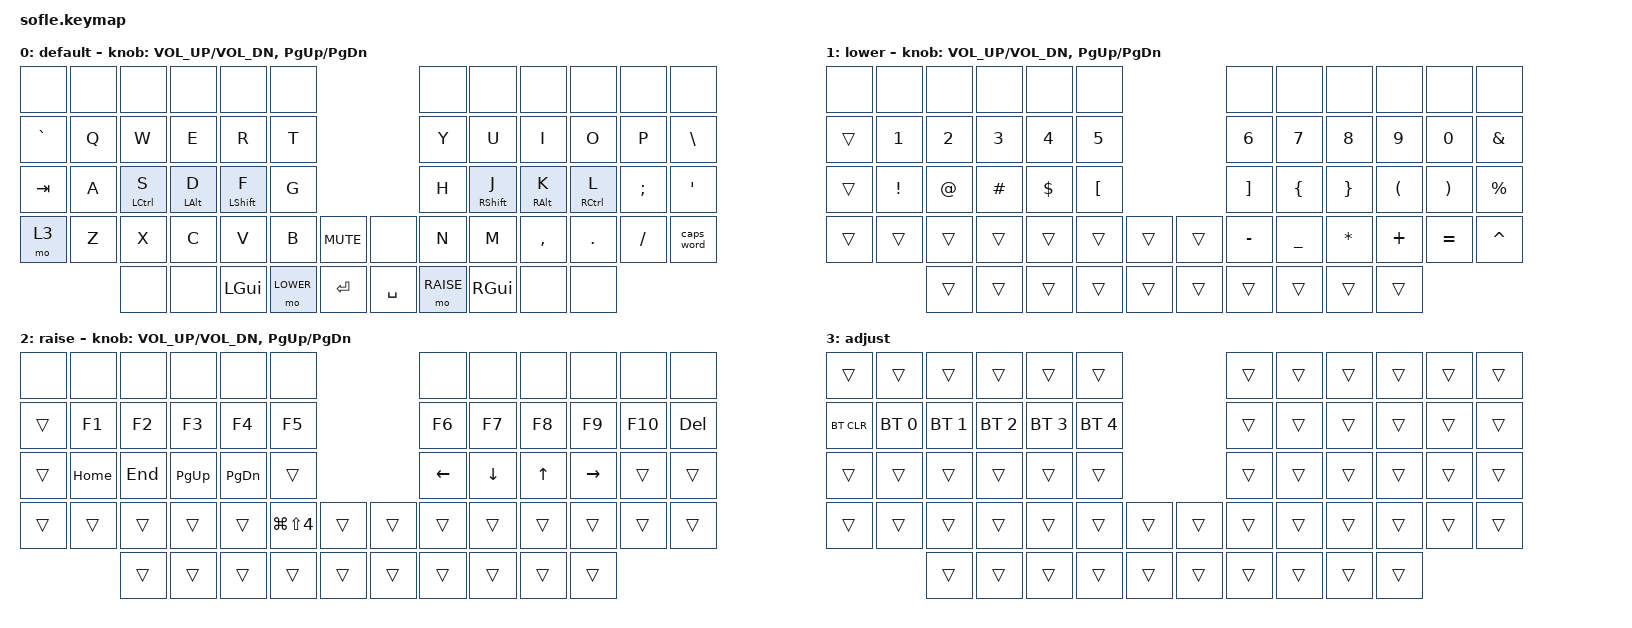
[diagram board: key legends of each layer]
/*
 * Copyright (c) 2020 The ZMK Contributors
 *
 * SPDX-License-Identifier: MIT
 */

#include <behaviors.dtsi>
#include <dt-bindings/zmk/bt.h>
#include <dt-bindings/zmk/keys.h>

#define BASE 0
#define LOWER 1
#define RAISE 2
#define ADJUST 3

&mt {
    flavor = "balanced";
    quick-tap-ms = <150>;
};

&caps_word { continue-list = <UNDERSCORE BACKSPACE DELETE MINUS NUMBER_1 NUMBER_2 NUMBER_3 NUMBER_4 NUMBER_5 NUMBER_6 NUMBER_7 NUMBER_8 NUMBER_9 NUMBER_0>; };

/ {
    // Activate ADJUST layer by pressing raise and lower

    conditional_layers { compatible = "zmk,conditional-layers"; };

    behaviors {
        TD_ESC_CAPS: TD_ESC_CAPS {
            compatible = "zmk,behavior-tap-dance";
            label = "TD_ESC_CAPS";
            #binding-cells = <0>;
            bindings = <&kp ESCAPE>, <&kp CAPSLOCK>;
        };

        TD_QUOTE_PIPE_BACKSLASH: TD_QUOTE_PIPE_BACKSLASH {
            compatible = "zmk,behavior-tap-dance";
            label = "TD_QUOTE_PIPE_BACKSLASH";
            #binding-cells = <0>;
            bindings = <&kp SINGLE_QUOTE>, <&kp PIPE>, <&kp BACKSLASH>;
        };

        TD_TICK_TILDE: TD_TICK_TILDE {
            compatible = "zmk,behavior-tap-dance";
            label = "TD_TICK_TILDE";
            #binding-cells = <0>;
            bindings = <&kp GRAVE>, <&kp TILDE>;
        };

        MT_SHIFT_KEYS: MT_SHIFT_KEYS {
            compatible = "zmk,behavior-hold-tap";
            label = "MT_SHIFT_KEYS";
            bindings = <&kp>, <&kp>;

            #binding-cells = <2>;
            tapping-term-ms = <156>;
            quick-tap-ms = <150>;
            flavor = "balanced";
            hold-while-undecided;
        };
    };

    combos {
        compatible = "zmk,combos";

        Esc_combo {
            bindings = <&kp ESC>;
            key-positions = <31 32>;
        };

        Backspace {
            bindings = <&kp BACKSPACE>;
            key-positions = <30 31>;
        };
    };

    keymap {
        compatible = "zmk,keymap";

        default_layer {
            label = "default";

            // ------------------------------------------------------------------------------------------------------------
            // |   `   |  1  |  2  |  3   |  4   |  5   |                   |  6   |  7    |  8    |  9   |   0   |       |
            // |  ESC  |  Q  |  W  |  E   |  R   |  T   |                   |  Y   |  U    |  I    |  O   |   P   | BKSPC |
            // |  TAB  |  A  |  S  |  D   |  F   |  G   |                   |  H   |  J    |  K    |  L   |   ;   |   '   |
            // | SHIFT |  Z  |  X  |  C   |  V   |  B   |  MUTE  |  |       |  N   |  M    |  ,    |  .   |   /   | SHIFT |
            //               | GUI | ALT  | CTRL | LOWER|  ENTER |  | SPACE | RAISE| CTRL  | ALT   | GUI  |

            bindings = <
&none      &none  &none        &none           &none                        &none                               &none      &none                         &none            &none                &none     &none
&kp GRAVE  &kp Q  &kp W        &kp E           &kp R                        &kp T                               &kp Y      &kp U                         &kp I            &kp O                &kp P     &kp BACKSLASH
&kp TAB    &kp A  &mt LCTRL S  &mt LEFT_ALT D  &MT_SHIFT_KEYS LEFT_SHIFT F  &kp G                               &kp H      &MT_SHIFT_KEYS RIGHT_SHIFT J  &mt RIGHT_ALT K  &mt RIGHT_CONTROL L  &kp SEMI  &kp SINGLE_QUOTE
&mo 3      &kp Z  &kp X        &kp C           &kp V                        &kp B      &kp C_MUTE    &none      &kp N      &kp M                         &kp COMMA        &kp DOT              &kp FSLH  &caps_word
                  &none        &none           &kp LEFT_GUI                 &mo LOWER  &kp RET       &kp SPACE  &mo RAISE  &kp RIGHT_GUI                 &none            &none
            >;

            sensor-bindings = <&inc_dec_kp C_VOL_UP C_VOL_DN &inc_dec_kp PG_UP PG_DN>;
        };

        lower_layer {
            label = "lower";

            // TODO: Some binds are waiting for shifted keycode support.
            // ------------------------------------------------------------------------------------------------------------
            // |       |  F1 |  F2 |  F3  |  F4  |  F5  |                   |  F6  |  F7   |  F8   |  F9  |  F10  |  F11  |
            // |   `   |  1  |  2  |  3   |  4   |  5   |                   |  6   |  7    |  8    |  9   |   0   |  F12  |
            // |       |  !  |  @  |  #   |  $   |  %   |                   |  ^   |  &    |  *    |  (   |   )   |   |   |
            // |       |  =  |  -  |  +   |  {   |  }   |        |  |       |  [   |  ]    |  ;    |  :   |   \   |       |
            //               |     |      |      |      |        |  |       |      |       |       |      |

            bindings = <
&none   &none     &none   &none     &none     &none                               &none              &none           &none            &none     &none      &none
&trans  &kp N1    &kp N2  &kp N3    &kp N4    &kp N5                              &kp N6             &kp N7          &kp N8           &kp N9    &kp N0     &kp AMPERSAND
&trans  &kp EXCL  &kp AT  &kp HASH  &kp DLLR  &kp LEFT_BRACKET                    &kp RIGHT_BRACKET  &kp LEFT_BRACE  &kp RIGHT_BRACE  &kp LPAR  &kp RPAR   &kp PERCENT
&trans  &trans    &trans  &trans    &trans    &trans            &trans    &trans  &kp MINUS          &kp UNDER       &kp STAR         &kp PLUS  &kp EQUAL  &kp CARET
                  &trans  &trans    &trans    &trans            &trans    &trans  &trans             &trans          &trans           &trans
            >;

            sensor-bindings = <&inc_dec_kp C_VOL_UP C_VOL_DN &inc_dec_kp PG_UP PG_DN>;
        };

        raise_layer {
            label = "raise";

            // ------------------------------------------------------------------------------------------------------------
            // | BTCLR | BT1  | BT2  |  BT3  |  BT4  |  BT5 |                |      |      |       |      |       |       |
            // |       | INS  | PSCR | GUI   |       |      |                | PGUP |      |   ^   |      |       |       |
            // |       | ALT  | CTRL | SHIFT |       | CAPS |                | PGDN |   <- |   v   |  ->  |  DEL  | BKSPC |
            // |       | UNDO | CUT  | COPY  | PASTE |      |      |  |      |      |      |       |      |       |       |
            //                |      |       |       |      |      |  |      |      |      |       |      |

            bindings = <
&none   &none     &none    &none        &none          &none                                   &none           &none     &none   &none      &none    &none
&trans  &kp F1    &kp F2   &kp F3       &kp F4         &kp F5                                  &kp F6          &kp F7    &kp F8  &kp F9     &kp F10  &kp DELETE
&trans  &kp HOME  &kp END  &kp PAGE_UP  &kp PAGE_DOWN  &trans                                  &kp LEFT_ARROW  &kp DOWN  &kp UP  &kp RIGHT  &trans   &trans
&trans  &trans    &trans   &trans       &trans         &kp LG(LS(NUMBER_4))  &trans    &trans  &trans          &trans    &trans  &trans     &trans   &trans
                  &trans   &trans       &trans         &trans                &trans    &trans  &trans          &trans    &trans  &trans
            >;

            sensor-bindings = <&inc_dec_kp C_VOL_UP C_VOL_DN &inc_dec_kp PG_UP PG_DN>;
        };

        bluetooth {
            // ----------------------------------------------------------------------------------------------------------------------------
            // | BTCLR  |  BT1    |  BT2    |   BT3   |   BT4   |   BT5   |                  |      |      |       |      |       |       |
            // | EXTPWR | RGB_HUD | RGB_HUI | RGB_SAD | RGB_SAI | RGB_EFF |                  |      |      |       |      |       |       |
            // |        | RGB_BRD | RGB_BRI |         |         |         |                  |      |      |       |      |       |       |
            // |        |         |         |         |         |         | RGB_TOG | |      |      |      |       |      |       |       |
            //                    |         |         |         |         |         | |      |      |      |       |      |

            label = "adjust";
            bindings = <
&trans      &trans        &trans        &trans        &trans        &trans                          &trans  &trans  &trans  &trans  &trans  &trans
&bt BT_CLR  &bt BT_SEL 0  &bt BT_SEL 1  &bt BT_SEL 2  &bt BT_SEL 3  &bt BT_SEL 4                    &trans  &trans  &trans  &trans  &trans  &trans
&trans      &trans        &trans        &trans        &trans        &trans                          &trans  &trans  &trans  &trans  &trans  &trans
&trans      &trans        &trans        &trans        &trans        &trans        &trans    &trans  &trans  &trans  &trans  &trans  &trans  &trans
                          &trans        &trans        &trans        &trans        &trans    &trans  &trans  &trans  &trans  &trans
            >;
        };
    };
};
